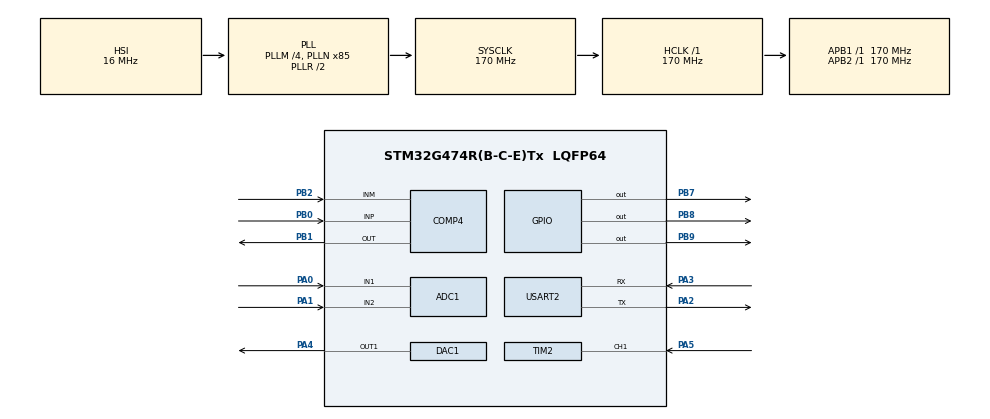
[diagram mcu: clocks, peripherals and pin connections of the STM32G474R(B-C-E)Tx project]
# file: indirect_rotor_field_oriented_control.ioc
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ADC1.EnableInjectedConversion=ENABLE
ADC1.EnableRegularConversion=DISABLE
ADC1.ExternalTrigInjecConv=ADC_EXTERNALTRIGINJEC_T3_TRGO
ADC1.InjNumberOfConversion=2
ADC1.InjectedChannel-1\#ChannelInjectedConversion=ADC_CHANNEL_1
ADC1.InjectedChannel-2\#ChannelInjectedConversion=ADC_CHANNEL_2
ADC1.InjectedOffsetNumber-1\#ChannelInjectedConversion=ADC_OFFSET_NONE
ADC1.InjectedOffsetNumber-2\#ChannelInjectedConversion=ADC_OFFSET_NONE
ADC1.InjectedRank-1\#ChannelInjectedConversion=1
ADC1.InjectedRank-2\#ChannelInjectedConversion=2
ADC1.InjectedSamplingTime-1\#ChannelInjectedConversion=ADC_SAMPLETIME_47CYCLES_5
ADC1.InjectedSamplingTime-2\#ChannelInjectedConversion=ADC_SAMPLETIME_47CYCLES_5
ADC1.Rank1_Channel=ADC_CHANNEL_1
ADC1.Rank2_Channel=ADC_CHANNEL_2
ADC1.Rank3_Channel=ADC_CHANNEL_1
ADC1.Rank4_Channel=ADC_CHANNEL_1
ADC1.master=1
Mcu.Family=STM32G4
Mcu.Name=STM32G474R(B-C-E)Tx
Mcu.Package=LQFP64
NVIC.ADC1_2_IRQn=true\:0\:0\:false\:false\:true\:true\:true\:true
NVIC.PriorityGroup=NVIC_PRIORITYGROUP_4
NVIC.TIM2_IRQn=true\:1\:0\:true\:false\:true\:true\:true\:true
NVIC.USART2_IRQn=true\:2\:0\:true\:false\:true\:true\:true\:true
PA0.Mode=IN1-Single-Ended
PA0.Signal=ADC1_IN1
PA1.Mode=IN2-Single-Ended
PA1.Signal=ADC1_IN2
PA2.Mode=Asynchronous
PA2.Signal=USART2_TX
PA3.Mode=Asynchronous
PA3.Signal=USART2_RX
PA4.Signal=COMP_DAC11_group
PA5.Signal=S_TIM2_CH1
PB0.Mode=INP
PB0.Signal=COMP4_INP
PB1.Mode=ExternalOutput
PB1.Signal=COMP4_OUT
PB2.Mode=INM
PB2.Signal=COMP4_INM
PB7.GPIO_FM7=SYSCFG_FASTMODEPLUS_PB7
PB7.GPIO_Speed=GPIO_SPEED_FREQ_VERY_HIGH
PB7.Signal=GPIO_Output
PB8-BOOT0.Signal=GPIO_Output
PB9.GPIO_FM9=SYSCFG_FASTMODEPLUS_PB9
PB9.GPIO_Speed=GPIO_SPEED_FREQ_VERY_HIGH
PB9.Signal=GPIO_Output
PF0-OSC_IN.Mode=HSE-External-Oscillator
PF0-OSC_IN.Signal=RCC_OSC_IN
PF1-OSC_OUT.Mode=HSE-External-Oscillator
PF1-OSC_OUT.Signal=RCC_OSC_OUT
ProjectManager.HeapSize=0x200
ProjectManager.StackSize=0x400
ProjectManager.TargetToolchain=STM32CubeIDE
RCC.ADC12Freq_Value=170000000
RCC.ADC345Freq_Value=170000000
RCC.AHBFreq_Value=170000000
RCC.APB1Freq_Value=170000000
RCC.APB1TimFreq_Value=170000000
RCC.APB2Freq_Value=170000000
RCC.APB2TimFreq_Value=170000000
RCC.CortexFreq_Value=170000000
RCC.EXTERNAL_CLOCK_VALUE=12288000
RCC.HCLKFreq_Value=170000000
RCC.HSE_VALUE=8000000
RCC.HSI48_VALUE=48000000
RCC.HSI_VALUE=16000000
RCC.LSE_VALUE=32768
RCC.PLLM=RCC_PLLM_DIV4
RCC.PLLN=85
RCC.SYSCLKFreq_VALUE=170000000
RCC.SYSCLKSource=RCC_SYSCLKSOURCE_PLLCLK
RCC.USBFreq_Value=170000000
RCC.VCOOutputFreq_Value=340000000
SH.COMP_DAC11_group.0=DAC1_OUT1,DAC_OUT1
SH.S_TIM2_CH1.0=TIM2_CH1,Input_Capture1_from_TI1
TIM2.Channel-Input_Capture1_from_TI1=TIM_CHANNEL_1
TIM3.PeriodNoDither=8500
TIM3.TIM_MasterOutputTrigger=TIM_TRGO_UPDATE
USART2.VirtualMode-Asynchronous=VM_ASYNC
VP_SYS_VS_DBSignals.Mode=DisableDeadBatterySignals
VP_TIM2_VS_ClockSourceINT.Mode=Internal
VP_TIM3_VS_ClockSourceINT.Mode=Internal
board=custom

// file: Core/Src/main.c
/* USER CODE BEGIN Header */
/**
  ******************************************************************************
  * @file           : main.c
  * @brief          : Main program body
  ******************************************************************************
  * @attention
  *
  * Copyright (c) 2026 STMicroelectronics.
  * All rights reserved.
  *
  * This software is licensed under terms that can be found in the LICENSE file
  * in the root directory of this software component.
  * If no LICENSE file comes with this software, it is provided AS-IS.
  *
  ******************************************************************************
  */
/* USER CODE END Header */
#include "main.h"
#include "adc.h"
#include "comp.h"
#include "dac.h"
#include "tim.h"
#include "usart.h"
#include "gpio.h"

/* USER CODE BEGIN Includes */
#include "control.h"
#include "speed.h"
#include <stdio.h>
#include <stdlib.h>
/* USER CODE END Includes */

/* USER CODE BEGIN PTD */
float PI_Controller(float ref, float measured, float dt);
/* USER CODE END PTD */

/* USER CODE BEGIN PV */

/* ---- Closed-loop tuning & command interface (driven from the PC GUI) ---- */
static volatile float ref_speed_cmd = 500.0f;   // RPM reference, settable from GUI
static volatile float Kp_gain       = 0.01f;     // speed-loop P gain, settable from GUI
static volatile float Ki_gain       = 0.01f;     // speed-loop I gain, settable from GUI

/* ---- Rotor flux observer (d-axis current model) ---- */
/* Matches identified motor parameters */
#define MOTOR_LM   0.31f                   // mutual inductance [H]
#define MOTOR_RR   1.92f                   // rotor resistance [Ohm]
#define MOTOR_LR   0.32106f                // rotor self-inductance [H] (Lm + Llr)
#define MOTOR_TR   (MOTOR_LR / MOTOR_RR)   // rotor time constant [s]
static volatile float psi_r_est = 0.0f;    // estimated rotor flux magnitude [Wb]

/* ---- UART command reception (simple ASCII line protocol) ---- */
#define RX_BUF_LEN 32
static uint8_t  rx_byte;
static char     rx_line[RX_BUF_LEN];
static uint8_t  rx_idx = 0;
static volatile uint8_t line_ready = 0;

/* ---- Provided by control.c ---- */
extern volatile float i_dq_d;
extern volatile float i_dq_q;
extern volatile float refrence_torque;

/* USER CODE END PV */

void SystemClock_Config(void);

int main(void)
{

  /* MCU Configuration--------------------------------------------------------*/

  /* Reset of all peripherals, Initializes the Flash interface and the Systick. */
  HAL_Init();

  /* Configure the system clock */
  SystemClock_Config();

  /* Initialize all configured peripherals */
  MX_GPIO_Init();
  MX_ADC1_Init();
  MX_TIM3_Init();
  MX_USART2_UART_Init();
  MX_COMP4_Init();
  MX_DAC1_Init();
  MX_TIM2_Init();
  /* USER CODE BEGIN 2 */

  Control_Init(&hadc1,&htim3);
  HAL_COMP_Start(&hcomp4);
  Speed_Init(&hdac1, &htim2);
  HAL_UART_Receive_IT(&huart2, &rx_byte, 1);
  HAL_Delay(1000);
  char msg[] = "Started\r\n";
  HAL_UART_Transmit(&huart2, (uint8_t*)msg, sizeof(msg)-1, 1000);

  float dt = 0.0005f;   // matches control.c's decimated data_ready rate (2kHz)

  /* USER CODE END 2 */

  /* Infinite loop */
  while (1)
  {

    /* USER CODE BEGIN 3 */

    if (line_ready)
    {
        line_ready = 0;
        float val = atof(&rx_line[1]);
        switch (rx_line[0])
        {
            case 'S': ref_speed_cmd = val; break;
            case 'P': Kp_gain       = val; break;
            case 'I': Ki_gain       = val; break;
            default: break;
        }
    }

    if(data_ready == 1)
    {
        data_ready = 0;
        int v1 = (int)(i_meas_1 * 1000);
        int v2 = (int)(i_meas_2 * 1000);
        int v3 = (int)(i_meas_3 * 1000);
        int vr = (int)(i_ref_1  * 1000);
        int idv = (int)(i_dq_d  * 1000);
        int iqv = (int)(i_dq_q  * 1000);
        int rpm = (int)rpm_filtered;
        Speed_CheckTimeout();
        refrence_torque = PI_Controller(ref_speed_cmd, rpm_filtered, dt);

        psi_r_est += dt * ((MOTOR_LM / MOTOR_TR) * i_dq_d - psi_r_est / MOTOR_TR);

        int fluxv = (int)(psi_r_est * 1000);

        char buf[100];
        int len = sprintf(buf,
                "%d,%d,%d,%d,%d,%d,%d,%d,%d,%d,%d\r\n",
                v1, v2, v3, vr, idv, iqv, fluxv, sw1, sw2, sw3, rpm);
        HAL_UART_Transmit(&huart2, (uint8_t*)buf, len, 1000);
    }
  }
  /* USER CODE END 3 */
}

void SystemClock_Config(void)
{
  RCC_OscInitTypeDef RCC_OscInitStruct = {0};
  RCC_ClkInitTypeDef RCC_ClkInitStruct = {0};

  /** Configure the main internal regulator output voltage
  */
  HAL_PWREx_ControlVoltageScaling(PWR_REGULATOR_VOLTAGE_SCALE1_BOOST);

  /** Initializes the RCC Oscillators according to the specified parameters
  * in the RCC_OscInitTypeDef structure.
  */
  RCC_OscInitStruct.OscillatorType = RCC_OSCILLATORTYPE_HSI;
  RCC_OscInitStruct.HSIState = RCC_HSI_ON;
  RCC_OscInitStruct.HSICalibrationValue = RCC_HSICALIBRATION_DEFAULT;
  RCC_OscInitStruct.PLL.PLLState = RCC_PLL_ON;
  RCC_OscInitStruct.PLL.PLLSource = RCC_PLLSOURCE_HSI;
  RCC_OscInitStruct.PLL.PLLM = RCC_PLLM_DIV4;
  RCC_OscInitStruct.PLL.PLLN = 85;
  RCC_OscInitStruct.PLL.PLLP = RCC_PLLP_DIV2;
  RCC_OscInitStruct.PLL.PLLQ = RCC_PLLQ_DIV2;
  RCC_OscInitStruct.PLL.PLLR = RCC_PLLR_DIV2;
  if (HAL_RCC_OscConfig(&RCC_OscInitStruct) != HAL_OK)
  {
    Error_Handler();
  }

  /** Initializes the CPU, AHB and APB buses clocks
  */
  RCC_ClkInitStruct.ClockType = RCC_CLOCKTYPE_HCLK|RCC_CLOCKTYPE_SYSCLK
                              |RCC_CLOCKTYPE_PCLK1|RCC_CLOCKTYPE_PCLK2;
  RCC_ClkInitStruct.SYSCLKSource = RCC_SYSCLKSOURCE_PLLCLK;
  RCC_ClkInitStruct.AHBCLKDivider = RCC_SYSCLK_DIV1;
  RCC_ClkInitStruct.APB1CLKDivider = RCC_HCLK_DIV1;
  RCC_ClkInitStruct.APB2CLKDivider = RCC_HCLK_DIV1;

  if (HAL_RCC_ClockConfig(&RCC_ClkInitStruct, FLASH_LATENCY_4) != HAL_OK)
  {
    Error_Handler();
  }
}

/* USER CODE BEGIN 4 */
float PI_Controller(float ref, float measured, float dt)
{
    static float integral = 0.0f;
    const float TORQUE_MAX =  14.5f;
    const float TORQUE_MIN = -14.5f;

    float error = ref - measured;
    float P = Kp_gain * error;
    integral += Ki_gain * error * dt;

    if (integral > TORQUE_MAX) integral = TORQUE_MAX;
    if (integral < TORQUE_MIN) integral = TORQUE_MIN;

    float output = P + integral;
    if (output > TORQUE_MAX) output = TORQUE_MAX;
    if (output < TORQUE_MIN) output = TORQUE_MIN;
    return output;
}

void HAL_UART_RxCpltCallback(UART_HandleTypeDef *huart)
{
    if (huart->Instance != USART2) return;

    if (rx_byte == '\n' || rx_byte == '\r')
    {
        rx_line[rx_idx] = '\0';
        if (rx_idx > 0) line_ready = 1;
        rx_idx = 0;
    }
    else if (rx_idx < RX_BUF_LEN - 1)
    {
        rx_line[rx_idx++] = (char)rx_byte;
    }
    HAL_UART_Receive_IT(&huart2, &rx_byte, 1);   // re-arm for next byte
}

/* USER CODE END 4 */

void Error_Handler(void)
{
  __disable_irq();
  while (1)
  {
  }
}
